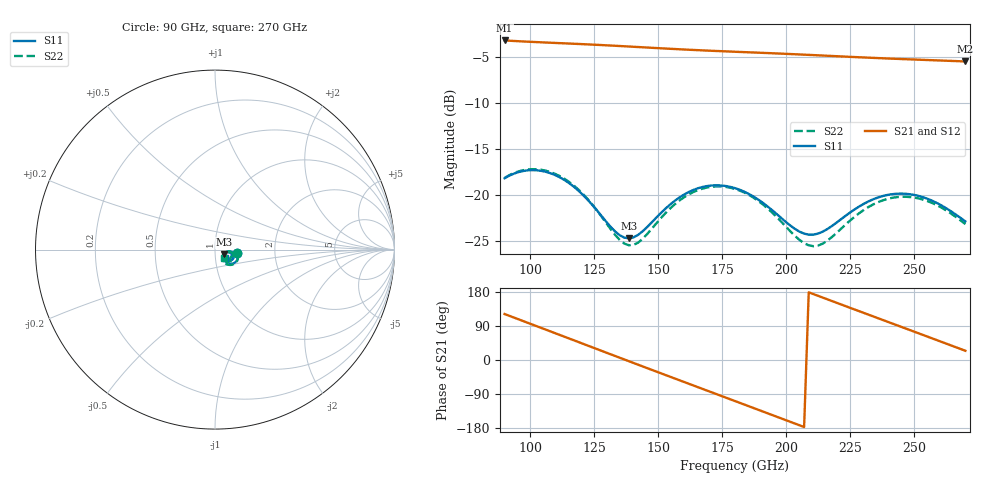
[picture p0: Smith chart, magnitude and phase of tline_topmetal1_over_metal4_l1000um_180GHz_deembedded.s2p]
! Created with skrf 2.2.0 (http://scikit-rf.org).
# GHz S DB R 50.0
! Port[1] = P1
! Port[2] = P2
!freq dBS11 angS11 dBS21 angS21 dBS12 angS12 dBS22 angS22
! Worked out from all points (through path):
!   101 points, 90 GHz to 270 GHz, reference 50 ohm
!   highest |S21| = -3.23 dB at 90 GHz (marker M1); lowest = -5.5 dB at 270 GHz (marker M2)
!   group delay of S21, straight-line fit = 7.05 ps
!   lowest |S11| = -24.7 dB at 138.6 GHz (marker M3), VSWR 1.12, Z = 55.5 - j2.83 ohm
!   |S11| at or under -10 dB: start of sweep to end of sweep
!   |S22| runs from -25.5 to -17.2 dB; largest |S21 - S12| = 7.6e-14
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90  -18.16 -8.5  -3.23 121.3  -3.23 121.3  -18.12 -10.1
97.2  -17.38 -18.2  -3.34 102.9  -3.34 102.9  -17.29 -20.3
104.4  -17.36 -28.7  -3.44 84.5  -3.44 84.5  -17.25 -31.2
111.6  -18.06 -38.4  -3.52 66.0  -3.52 66.0  -17.93 -41.7
120.6  -19.96 -47.1  -3.63 42.9  -3.63 42.9  -19.86 -51.8
129.6  -22.84 -45.6  -3.76 19.8  -3.76 19.8  -22.98 -52.1
138.6  -24.67 -25.7  -3.89 -3.3  -3.89 -3.3  -25.42 -31.4
144  -23.89 -12.8  -3.97 -17.1  -3.97 -17.1  -24.70 -15.7
151.2  -21.89 -6.3  -4.08 -35.4  -4.08 -35.4  -22.43 -7.6
158.4  -20.22 -8.9  -4.19 -53.7  -4.19 -53.7  -20.55 -10.2
165.6  -19.24 -15.7  -4.29 -71.9  -4.29 -71.9  -19.44 -17.5
172.8  -18.92 -24.0  -4.37 -90.1  -4.37 -90.1  -19.04 -26.6
180  -19.23 -32.3  -4.46 -108.3  -4.46 -108.3  -19.32 -35.8
187.2  -20.14 -39.1  -4.54 -126.6  -4.54 -126.6  -20.26 -43.8
196.2  -22.02 -42.1  -4.64 -149.4  -4.64 -149.4  -22.34 -48.6
203.4  -23.64 -36.7  -4.73 -167.7  -4.73 -167.7  -24.40 -44.0
210.6  -24.27 -24.3  -4.82 174.0  -4.82 174.0  -25.52 -29.2
217.8  -23.34 -13.8  -4.91 155.8  -4.91 155.8  -24.54 -14.7
226.8  -21.52 -11.3  -5.03 133.1  -5.03 133.1  -22.31 -10.5
241.2  -19.89 -22.0  -5.20 96.9  -5.20 96.9  -20.29 -21.6
253.8  -20.25 -34.4  -5.34 65.2  -5.34 65.2  -20.50 -35.0
270  -22.83 -40.4  -5.51 24.4  -5.51 24.4  -23.13 -42.5
